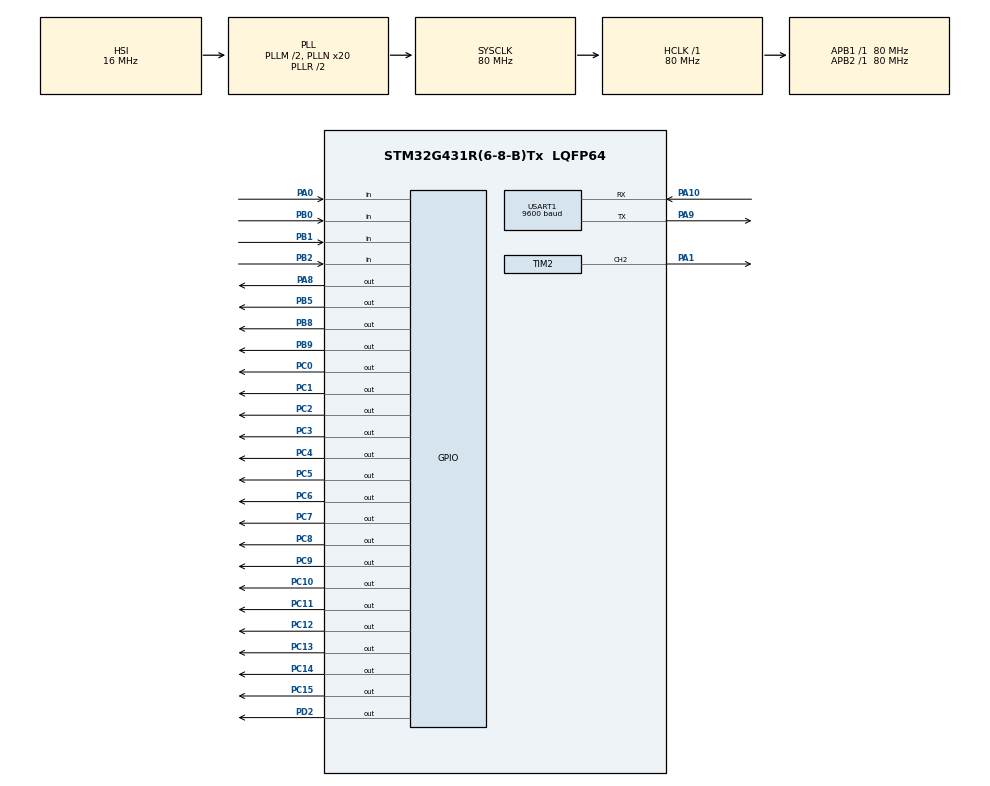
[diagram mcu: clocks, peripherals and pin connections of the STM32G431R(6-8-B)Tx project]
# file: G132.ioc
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Mcu.Family=STM32G4
Mcu.Name=STM32G431R(6-8-B)Tx
Mcu.Package=LQFP64
NVIC.PriorityGroup=NVIC_PRIORITYGROUP_4
NVIC.TIM1_BRK_TIM15_IRQn=true\:0\:0\:false\:false\:true\:true\:true\:true
NVIC.USART1_IRQn=true\:0\:0\:false\:false\:true\:true\:true\:true
PA0.Signal=GPIO_Input
PA1.Signal=S_TIM2_CH2
PA10.Mode=Asynchronous
PA10.Signal=USART1_RX
PA8.Signal=GPIO_Output
PA9.Mode=Asynchronous
PA9.Signal=USART1_TX
PB0.Signal=GPIO_Input
PB1.Signal=GPIO_Input
PB2.Signal=GPIO_Input
PB5.Signal=GPIO_Output
PB8-BOOT0.Signal=GPIO_Output
PB9.Signal=GPIO_Output
PC0.Signal=GPIO_Output
PC1.Signal=GPIO_Output
PC10.Signal=GPIO_Output
PC11.Signal=GPIO_Output
PC12.Signal=GPIO_Output
PC13.Signal=GPIO_Output
PC14-OSC32_IN.Signal=GPIO_Output
PC15-OSC32_OUT.Signal=GPIO_Output
PC2.Signal=GPIO_Output
PC3.Signal=GPIO_Output
PC4.Signal=GPIO_Output
PC5.Signal=GPIO_Output
PC6.Signal=GPIO_Output
PC7.Signal=GPIO_Output
PC8.Signal=GPIO_Output
PC9.Signal=GPIO_Output
PD2.Signal=GPIO_Output
PF0-OSC_IN.Mode=HSE-External-Oscillator
PF0-OSC_IN.Signal=RCC_OSC_IN
PF1-OSC_OUT.Mode=HSE-External-Oscillator
PF1-OSC_OUT.Signal=RCC_OSC_OUT
ProjectManager.HeapSize=0x200
ProjectManager.StackSize=0x400
ProjectManager.TargetToolchain=MDK-ARM V5
RCC.ADC12Freq_Value=80000000
RCC.AHBFreq_Value=80000000
RCC.APB1Freq_Value=80000000
RCC.APB1TimFreq_Value=80000000
RCC.APB2Freq_Value=80000000
RCC.APB2TimFreq_Value=80000000
RCC.CortexFreq_Value=80000000
RCC.EXTERNAL_CLOCK_VALUE=12288000
RCC.HCLKFreq_Value=80000000
RCC.HSE_VALUE=24000000
RCC.HSI48_VALUE=48000000
RCC.HSI_VALUE=16000000
RCC.LSE_VALUE=32768
RCC.PLLM=RCC_PLLM_DIV2
RCC.PLLN=20
RCC.SYSCLKFreq_VALUE=80000000
RCC.SYSCLKSource=RCC_SYSCLKSOURCE_PLLCLK
RCC.USBFreq_Value=80000000
RCC.VCOOutputFreq_Value=160000000
SH.S_TIM2_CH2.0=TIM2_CH2,PWM Generation2 CH2
TIM15.AutoReloadPreload=TIM_AUTORELOAD_PRELOAD_ENABLE
TIM15.PeriodNoDither=999
TIM15.Prescaler=7999
TIM2.AutoReloadPreload=TIM_AUTORELOAD_PRELOAD_ENABLE
TIM2.Channel-PWM\ Generation2\ CH2=TIM_CHANNEL_2
TIM2.PeriodNoDither=499
TIM2.Prescaler=79
USART1.BaudRate=9600
USART1.VirtualMode-Asynchronous=VM_ASYNC
VP_SYS_VS_DBSignals.Mode=DisableDeadBatterySignals
VP_TIM15_VS_ClockSourceINT.Mode=Internal
board=custom

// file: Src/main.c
/* USER CODE BEGIN Header */
/**
  ******************************************************************************
  * @file           : main.c
  * @brief          : Main program body
  ******************************************************************************
  * @attention
  *
  * <h2><center>&copy; Copyright (c) 2021 STMicroelectronics.
  * All rights reserved.</center></h2>
  *
  * This software component is licensed by ST under BSD 3-Clause license,
  * the "License"; You may not use this file except in compliance with the
  * License. You may obtain a copy of the License at:
  *                        opensource.org/licenses/BSD-3-Clause
  *
  ******************************************************************************
  */
/* USER CODE END Header */

#include "main.h"
#include "tim.h"
#include "usart.h"
#include "gpio.h"

/* USER CODE BEGIN Includes */
#include "led.h"
#include "key.h"
#include "stdio.h"
#include "string.h"
#include "i2c_hal.h"

/* USER CODE END Includes */

void SystemClock_Config(void);

/* USER CODE BEGIN 0 */
#define Display_SHOP 0
#define Display_PRICE 1
#define Display_REP 2

u8 Display_Mode = 0;

//1

u8 X_SHOP = 1;
u8 Y_SHOP = 8;

_Bool tim_st = 0;

//2

double X_PRICE = 1.0;
double Y_PRICE = 2.0;

//3

u8 X_REP = 23;
u8 Y_REP = 10;

//EEPROM
u8 start_times;

//LED
u8 led_ctrl = 0x00;
uint32_t ledTick = 0;
void LED_Process(void)
{
	if(uwTick - ledTick < 1000) return;
	ledTick = uwTick;

//	if(X_REP == 0 && Y_REP == 0)
//		led_ctrl ^= 0x02;
//	else
//		led_ctrl &= ~0x02;

	led_ctrl ^=0x80;
	Led_Control(led_ctrl);
}

//KEY
uint32_t keyTick = 0;
void Key_Process(void)
{
	if(uwTick - keyTick < 20) return;
	keyTick = uwTick;
	Key_Read();

	if(Trg & 0x01)
	{
		LCD_Clear(Black);
		Display_Mode = (Display_Mode + 1)% 3;
	}

	if(Trg & 0x02)
	{
		if(Display_Mode == Display_SHOP)
		{
			if(X_SHOP < X_REP)
			{
				X_SHOP+=1;

			}

		}

		if(Display_Mode == Display_PRICE)
		{
			X_PRICE += 0.1;
			if(X_PRICE > 2.01)//小数不准
				X_PRICE = 0.1;

			EEPROM_Write(0x02,X_PRICE*10);
		}

		if(Display_Mode == Display_REP)
		{
			X_REP +=1;
			EEPROM_Write(0x00,X_REP);
		}

	}

	if(Trg & 0x04)
	{
		if(Display_Mode == Display_SHOP)
		{
			if(Y_SHOP < Y_REP)
			{
				Y_SHOP+=1;
			}
		}

		if(Display_Mode == Display_PRICE)
		{
			Y_PRICE += 0.1;
			if(Y_PRICE > 2.01)//小数不准
				Y_PRICE = 0.1;
			EEPROM_Write(0x03,Y_PRICE*10);
		}

		if(Display_Mode == Display_REP)
		{
			Y_REP +=1;
			EEPROM_Write(0x01,Y_REP);
		}
	}

	if(Trg & 0x08)
	{
		if(Display_Mode == Display_SHOP)
		{

			X_REP -= X_SHOP;
			Y_REP -= Y_SHOP;

			printf("X:%d,Y:%d,Z:%3.1f\r\n",X_SHOP,Y_SHOP,X_SHOP*X_PRICE + Y_SHOP * Y_PRICE);

			X_SHOP = 0;
			Y_SHOP = 0;

			tim_st = 1;
			led_ctrl |= 0x01;
		}
	}
}

//串口
//发

int fputc(int ch, FILE *f)
{
  /* Your implementation of fputc(). */
	HAL_UART_Transmit(&huart1,(u8 *)&ch,1,50);
  return ch;
}

//收
u8 uart_buf[2];
u8 rx_buf[100];
u8 rx_cnt = 0;

uint32_t uartTick = 0;
void Rx_Idle(void)
{
	if(uwTick - uartTick < 50) return;
	uartTick = uwTick;

	if(rx_cnt > 0)
	{
		rx_cnt = 0;
		memset(rx_buf,'\0',sizeof(rx_buf));
	}
}

void HAL_UART_RxCpltCallback(UART_HandleTypeDef *huart)
{
	uartTick = uwTick;
	HAL_UART_Receive_IT(&huart1,uart_buf,1);

	rx_buf[rx_cnt++] = uart_buf[0];
	if(rx_cnt == 1)
	{
		rx_cnt = 0;

		if(rx_buf[0] == '?')
			printf("X:%3.1f,Y:%3.1f\r\n",X_PRICE,Y_PRICE);

		memset(rx_buf,'\0',sizeof(rx_buf));

	}

}

//PWM
void PWM_Process(void)
{
	TIM2->ARR = 499;

	if(tim_st == 0)
		TIM2->CCR2 = (TIM2->ARR + 1) * 0.3;
	else
		TIM2->CCR2 = (TIM2->ARR + 1) * 0.05;

}

//LCD
uint32_t lcdTick = 0;
void LCD_Process(void)
{
	if(uwTick - lcdTick < 100)
		lcdTick = uwTick;

	u8 display_buf[30];

	if(Display_Mode == Display_SHOP)
	{
		sprintf((char*)display_buf,"        SHOP");
		LCD_DisplayStringLine(Line1,display_buf);

		sprintf((char*)display_buf,"     X:%-5d",X_SHOP); //空格占位
		LCD_DisplayStringLine(Line3,display_buf);

		sprintf((char*)display_buf,"     Y:%-5d",Y_SHOP);
		LCD_DisplayStringLine(Line4,display_buf);
	}

	if(Display_Mode == Display_PRICE)
	{
		sprintf((char*)display_buf,"        PRICE");
		LCD_DisplayStringLine(Line1,display_buf);

		sprintf((char*)display_buf,"     X:%3.1f",X_PRICE);
		LCD_DisplayStringLine(Line3,display_buf);

		sprintf((char*)display_buf,"     Y:%3.1f",Y_PRICE);
		LCD_DisplayStringLine(Line4,display_buf);
	}

	if(Display_Mode == Display_REP)
	{
		sprintf((char*)display_buf,"        REP");
		LCD_DisplayStringLine(Line1,display_buf);

		sprintf((char*)display_buf,"     X:%-5d",X_REP);
		LCD_DisplayStringLine(Line3,display_buf);

		sprintf((char*)display_buf,"     Y:%-5d",Y_REP);
		LCD_DisplayStringLine(Line4,display_buf);
	}

}

//TIM15

u32 tim_cnt = 0;
void HAL_TIM_PeriodElapsedCallback(TIM_HandleTypeDef *htim)
{
	if(tim_st == 1)
	{
		tim_cnt++;
		if(tim_cnt == 50)
		{
			tim_cnt = 0;
			tim_st = 0;
			led_ctrl &= ~0x01;
		}
	}
}

/* USER CODE END 0 */

int main(void)
{

  /* MCU Configuration--------------------------------------------------------*/

  /* Reset of all peripherals, Initializes the Flash interface and the Systick. */
  HAL_Init();

  /* Configure the system clock */
  SystemClock_Config();

  /* Initialize all configured peripherals */
  MX_GPIO_Init();
  MX_USART1_UART_Init();
  MX_TIM2_Init();
  MX_TIM15_Init();
  /* USER CODE BEGIN 2 */

    LCD_Init();

		//UART
		HAL_UART_Receive_IT(&huart1,uart_buf,1);

		//EEPROM
		I2CInit();

		//TIM15
		HAL_TIM_Base_Start_IT(&htim15);

		//PWM
		HAL_TIM_PWM_Start(&htim2,TIM_CHANNEL_2);

		if(EEPROM_Read(0x10) != 12) //第一次上电
		{
			EEPROM_Write(0x10,12);
			//在变量定义处初始化和这里保持一致
			X_REP = 10;
			X_PRICE = 1.0;
			Y_REP = 10;
			Y_PRICE = 1.0;

			X_SHOP = 0;
			Y_SHOP = 0;

			EEPROM_Write(0x00,X_REP);
			EEPROM_Write(0x01,Y_REP);
			//注意EEPROM小于1的数，不能存入
			EEPROM_Write(0x02,X_PRICE*10);
			EEPROM_Write(0x03,Y_PRICE*10);
		}
		else
		{
			X_SHOP = 0;
			Y_SHOP = 0;

			X_REP = EEPROM_Read(0x00);
			Y_REP = EEPROM_Read(0x01);

			X_PRICE = EEPROM_Read(0x02)/10.0;
			Y_PRICE = EEPROM_Read(0x03)/10.0;
		}

//		EEPROM_Write(0x10,0);
//		EEPROM_Write(0x00,0);
//		EEPROM_Write(0x01,0);
//		EEPROM_Write(0x02,0);
//		EEPROM_Write(0x03,0);

//		start_times = EEPROM_Read(0x00)+1;
//		EEPROM_Write(0x00,start_times);

//		EEPROM_Write(0x00,0);
//		EEPROM_Write(0x01,0);

  /* USER CODE END 2 */

  /* Infinite loop */
  /* USER CODE BEGIN WHILE */

    LCD_Clear(Black);
    LCD_SetBackColor(Black);
    LCD_SetTextColor(White);

//    LCD_DrawLine(120, 0, 320, Horizontal);
//    LCD_DrawLine(0, 160, 240, Vertical);
//    HAL_Delay(1000);
//    LCD_Clear(Blue);

//    LCD_DrawRect(70, 210, 100, 100);
//    HAL_Delay(1000);
//    LCD_Clear(Blue);

//    LCD_DrawCircle(120, 160, 50);
//    HAL_Delay(1000);

//    LCD_Clear(Blue);
//    LCD_DisplayStringLine(Line4, (unsigned char *)"    Hello,world.   ");
//    HAL_Delay(1000);

//    LCD_SetBackColor(White);
//    LCD_DisplayStringLine(Line0, (unsigned char *)"                    ");
//    LCD_SetBackColor(Black);
//    LCD_DisplayStringLine(Line1, (unsigned char *)"                    ");
//    LCD_SetBackColor(Grey);
//    LCD_DisplayStringLine(Line2, (unsigned char *)"                    ");
//    LCD_SetBackColor(Blue);
//    LCD_DisplayStringLine(Line3, (unsigned char *)"                    ");
//    LCD_SetBackColor(Blue2);
//    LCD_DisplayStringLine(Line4, (unsigned char *)"                    ");
//    LCD_SetBackColor(Red);
//    LCD_DisplayStringLine(Line5, (unsigned char *)"                    ");
//    LCD_SetBackColor(Magenta);
//    LCD_DisplayStringLine(Line6, (unsigned char *)"                    ");
//    LCD_SetBackColor(Green);
//    LCD_DisplayStringLine(Line7, (unsigned char *)"                    ");
//    LCD_SetBackColor(Cyan);
//    LCD_DisplayStringLine(Line8, (unsigned char *)"                    ");
//    LCD_SetBackColor(Yellow);
//    LCD_DisplayStringLine(Line9, (unsigned char *)"                    ");

		Led_Control(0x00);

		printf("你好\r\n");
    while (1)
    {
    /* USER CODE END WHILE */

    /* USER CODE BEGIN 3 */
			Key_Process();
			LCD_Process();
			PWM_Process();
			Rx_Idle();
			LED_Process();

    }
  /* USER CODE END 3 */
}

void SystemClock_Config(void)
{
  RCC_OscInitTypeDef RCC_OscInitStruct = {0};
  RCC_ClkInitTypeDef RCC_ClkInitStruct = {0};
  RCC_PeriphCLKInitTypeDef PeriphClkInit = {0};

  /** Configure the main internal regulator output voltage
  */
  HAL_PWREx_ControlVoltageScaling(PWR_REGULATOR_VOLTAGE_SCALE1);
  /** Initializes the CPU, AHB and APB busses clocks
  */
  RCC_OscInitStruct.OscillatorType = RCC_OSCILLATORTYPE_HSI;
  RCC_OscInitStruct.HSIState = RCC_HSI_ON;
  RCC_OscInitStruct.HSICalibrationValue = RCC_HSICALIBRATION_DEFAULT;
  RCC_OscInitStruct.PLL.PLLState = RCC_PLL_ON;
  RCC_OscInitStruct.PLL.PLLSource = RCC_PLLSOURCE_HSI;
  RCC_OscInitStruct.PLL.PLLM = RCC_PLLM_DIV2;
  RCC_OscInitStruct.PLL.PLLN = 20;
  RCC_OscInitStruct.PLL.PLLP = RCC_PLLP_DIV2;
  RCC_OscInitStruct.PLL.PLLQ = RCC_PLLQ_DIV2;
  RCC_OscInitStruct.PLL.PLLR = RCC_PLLR_DIV2;
  if (HAL_RCC_OscConfig(&RCC_OscInitStruct) != HAL_OK)
  {
    Error_Handler();
  }
  /** Initializes the CPU, AHB and APB busses clocks
  */
  RCC_ClkInitStruct.ClockType = RCC_CLOCKTYPE_HCLK|RCC_CLOCKTYPE_SYSCLK
                              |RCC_CLOCKTYPE_PCLK1|RCC_CLOCKTYPE_PCLK2;
  RCC_ClkInitStruct.SYSCLKSource = RCC_SYSCLKSOURCE_PLLCLK;
  RCC_ClkInitStruct.AHBCLKDivider = RCC_SYSCLK_DIV1;
  RCC_ClkInitStruct.APB1CLKDivider = RCC_HCLK_DIV1;
  RCC_ClkInitStruct.APB2CLKDivider = RCC_HCLK_DIV1;

  if (HAL_RCC_ClockConfig(&RCC_ClkInitStruct, FLASH_LATENCY_3) != HAL_OK)
  {
    Error_Handler();
  }
  /** Initializes the peripherals clocks
  */
  PeriphClkInit.PeriphClockSelection = RCC_PERIPHCLK_USART1;
  PeriphClkInit.Usart1ClockSelection = RCC_USART1CLKSOURCE_PCLK2;
  if (HAL_RCCEx_PeriphCLKConfig(&PeriphClkInit) != HAL_OK)
  {
    Error_Handler();
  }
}

void Error_Handler(void)
{
}

/************************ (C) COPYRIGHT STMicroelectronics *****END OF FILE****/
